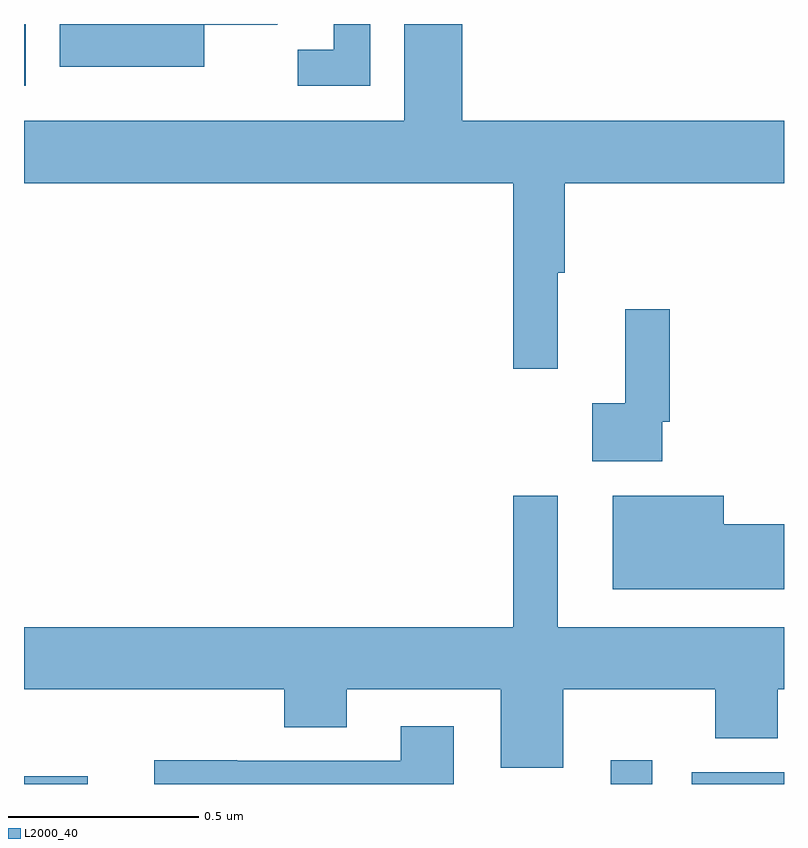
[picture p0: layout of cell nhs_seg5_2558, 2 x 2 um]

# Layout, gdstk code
import gdstk
lib = gdstk.Library(unit=1e-6, precision=1e-09)
def R(c, l, rs):  # rectangles x0, y0, x1, y1
    for r in rs: c.add(gdstk.rectangle(r[:2], r[2:], *l))
def P(c, l, *ps):  # polygons
    for p in ps: c.add(gdstk.Polygon(p, *l))
L2000_40 = (2000, 40)

nhs_seg5_2558 = lib.new_cell('nhs_seg5_2558')
R(nhs_seg5_2558, L2000_40, [(145,901.799,145.168,901.819), (146.544,901.799,146.653,901.861), (146.757,901.799,147,901.83), (145,903.636,145.005,903.799)])
P(nhs_seg5_2558, L2000_40, [(146.405,903.144),(146.423,903.144),(146.423,903.38),(147,903.38),(147,903.544),(146.153,903.544),(146.153,903.799),(146,903.799),(146,903.544),(145,903.544),(145,903.38),(146.287,903.38),(146.287,902.892),(146.405,902.892)],
  [(145.474,903.797),(145.666,903.797),(145.668,903.799),(145.094,903.799),(145.094,903.686),(145.474,903.686)],
  [(145.911,903.799),(145.815,903.799),(145.815,903.731),(145.72,903.731),(145.72,903.636),(145.911,903.636)],
  [(146.679,902.752),(146.699,902.752),(146.699,903.049),(146.582,903.049),(146.582,902.801),(146.496,902.801),(146.496,902.648),(146.679,902.648)],
  [(146.419,902.048),(146.819,902.048),(146.819,901.92),(146.983,901.92),(146.983,902.048),(147,902.048),(147,902.212),(146.404,902.212),(146.404,902.557),(146.287,902.557),(146.287,902.212),(145,902.212),(145,902.048),(145.685,902.048),(145.685,901.949),(145.849,901.949),(145.849,902.048),(146.255,902.048),(146.255,901.842),(146.419,901.842)],
  [(147,902.483),(146.842,902.483),(146.842,902.557),(146.549,902.557),(146.549,902.312),(147,902.312)],
  [(146.131,901.951),(145.991,901.951),(145.991,901.86),(145.561,901.86),(145.561,901.862),(145.343,901.862),(145.343,901.799),(146.131,901.799)])

lib.write_gds('nhs_seg5_2558.gds')
